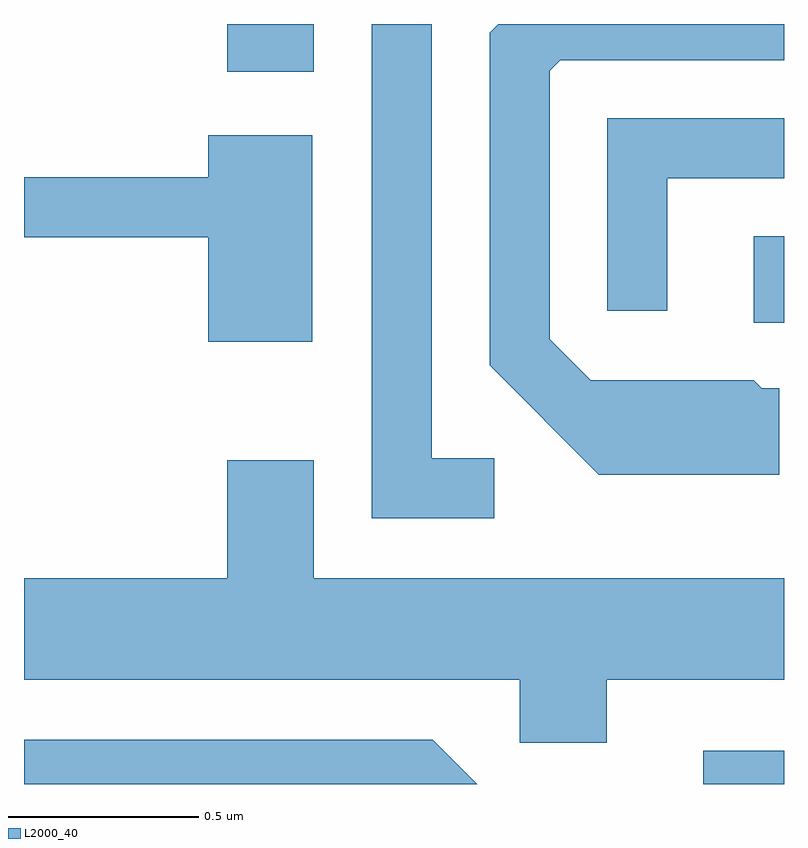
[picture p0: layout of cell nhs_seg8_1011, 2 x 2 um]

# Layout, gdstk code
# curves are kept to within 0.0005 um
import gdstk
lib = gdstk.Library(unit=1e-6, precision=1e-09)
def R(c, l, rs):  # rectangles x0, y0, x1, y1
    for r in rs: c.add(gdstk.rectangle(r[:2], r[2:], *l))
def P(c, l, *ps):  # polygons
    for p in ps: c.add(gdstk.Polygon(p, *l))
L2000_40 = (2000, 40)

nhs_seg8_1011 = lib.new_cell('nhs_seg8_1011')
R(nhs_seg8_1011, L2000_40, [(194.398,1858.342,194.611,1858.429), (194.531,1859.556,194.611,1859.784), (193.146,1860.216,193.374,1860.342)])
P(nhs_seg8_1011, L2000_40, [(194.599,1859.384),(194.552,1859.384),(194.532,1859.404),(194.102,1859.404),(193.994,1859.512),(193.994,1860.219),(194.022,1860.246),(194.611,1860.246),(194.611,1860.342),(193.859,1860.342),(193.836,1860.319),(193.836,1859.444),(194.124,1859.156),(194.599,1859.156)],
  [(193.848,1859.199),(193.684,1859.199),(193.684,1860.342),(193.526,1860.342),(193.526,1859.041),(193.848,1859.041)],
  [(194.304,1859.936),(194.611,1859.936),(194.611,1860.094),(194.146,1860.094),(194.146,1859.588),(194.304,1859.588)],
  [(193.369,1860.049),(193.096,1860.049),(193.096,1859.939),(192.611,1859.939),(192.611,1859.781),(193.096,1859.781),(193.096,1859.506),(193.369,1859.506)],
  [(194.144,1858.616),(194.611,1858.616),(194.611,1858.884),(193.374,1858.884),(193.374,1859.194),(193.146,1859.194),(193.146,1858.884),(192.611,1858.884),(192.611,1858.616),(193.916,1858.616),(193.916,1858.451),(194.144,1858.451)],
  [(193.687,1858.459),(192.611,1858.459),(192.611,1858.342),(193.804,1858.342)])

lib.write_gds('nhs_seg8_1011.gds')
